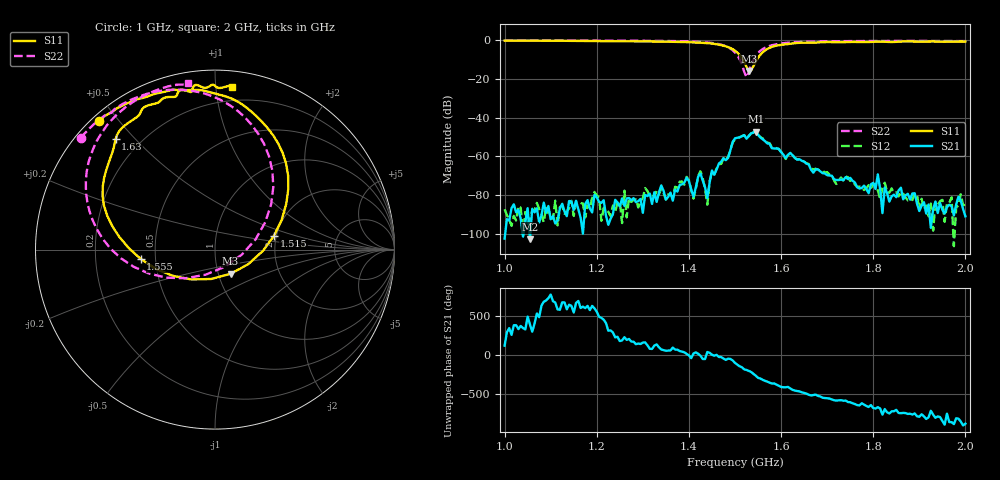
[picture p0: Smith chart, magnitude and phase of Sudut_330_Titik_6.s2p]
# Hz S RI R 50
! CMT, C1220, 16058040, 17.2.0/1
! Date: 14/08/2018 12:25:29
! Data: Format (Calibration Info)
! Freq  S11: Re/Im (F2)  S21: Re/Im (F2)  S12: Re/Im (F2)  S22: Re/Im (F2)
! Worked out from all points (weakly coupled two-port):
!   201 points, 1 GHz to 2 GHz, reference 50 ohm
!   highest |S21| = -47.24 dB at 1.545 GHz (marker M1); lowest = -102.8 dB at 1.055 GHz (marker M2)
!   lowest |S11| = -15.9 dB at 1.53 GHz (marker M3), VSWR 1.38, Z = 57.1 - j15.8 ohm
!   |S11| at or under -10 dB: 1.516 GHz to 1.548 GHz (31.46 MHz wide, 2.05 % of centre)
!   |S22| runs from -19.2 to -0.2 dB; largest |S21 - S12| = 0.00032
!   S11 on the Smith chart (normalised r, x): 1 GHz: 0.02, +0.44; 1.515 GHz: 1.94, +0.34; 1.555 GHz: 0.41, -0.05; 1.63 GHz: 0.11, +0.44; 2 GHz: 0.10, +1.11
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1e9  -0.6468 0.7148  -3.23e-06 6.76e-06  3.89e-05 1.8e-05  -0.7479 0.6239
1.055e9  -0.5985 0.7532  6.38e-06 3.42e-06  -3.21e-06 -2.39e-05  -0.7101 0.6643
1.17e9  -0.4725 0.8223  -2.4e-06 -9.81e-06  3.79e-05 -4.67e-05  -0.6115 0.7484
1.335e9  -0.2101 0.8892  -8.32e-06 0.000116  4.37e-05 9.38e-05  -0.3966 0.8619
1.395e9  -0.0474 0.8819  0.000271 5.26e-05  0.000292 3.81e-05  -0.24 0.8905
1.41e9  0.0085 0.8674  8.72e-05 2.56e-05  5.43e-05 6e-05  -0.1835 0.8902
1.425e9  0.0752 0.8482  0.000347 -8.17e-05  0.000389 -0.000132  -0.1159 0.8823
1.44e9  0.135 0.8192  6.81e-05 4.8e-05  4.97e-05 2.57e-05  -0.037 0.8625
1.45e9  0.1787 0.7886  0.000428 -3.35e-06  0.000392 -5.15e-05  0.0248 0.8369
1.485e9  0.3775 0.5371  0.000572 -0.000703  0.000598 -0.000763  0.2739 0.5878
1.5e9  0.4083 0.3382  -0.000751 -0.0028  -0.000708 -0.00264  0.3251 0.3493
1.515e9  0.3297 0.0785  -0.00311 -0.00104  -0.00311 -0.00115  0.2254 0.0562
1.53e9  0.0864 -0.1349  -0.00296 0.00157  -0.00294 0.00154  -0.0524 -0.1398
1.545e9  -0.2349 -0.146  -8.04e-05 0.00434  -0.000189 0.00425  -0.3695 -0.1328
1.555e9  -0.4139 -0.052  0.0018 0.00245  0.00174 0.00258  -0.5242 -0.0485
1.63e9  -0.5539 0.6149  -0.000154 -0.000902  -6.81e-05 -0.000895  -0.6857 0.5427
1.67e9  -0.4368 0.737  -0.000349 -0.000145  -0.0004 -0.00022  -0.6183 0.6703
1.79e9  -0.2118 0.861  7.22e-05 8.45e-05  0.000141 0.000111  -0.4327 0.8366
1.81e9  -0.192 0.8893  0.000233 0.000249  -5.69e-05 0.000118  -0.405 0.8531
1.82e9  -0.1716 0.8891  2.25e-05 -2.56e-05  0.000151 2.29e-05  -0.3912 0.8596
1.835e9  -0.1397 0.8787  5.61e-05 -3.78e-05  0.000113 -2.18e-05  -0.3715 0.8694
2e9  0.0965 0.9083  -2.71e-05 -7.75e-06  -5.31e-05 -1.59e-05  -0.1493 0.9276
